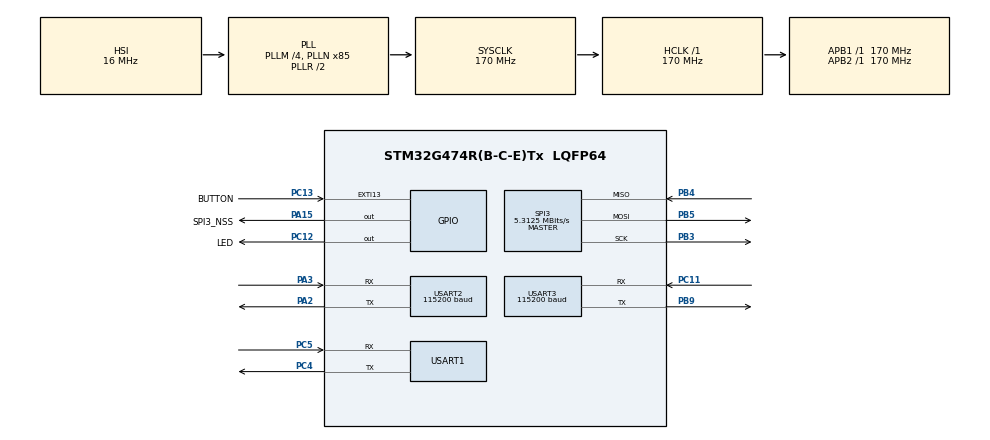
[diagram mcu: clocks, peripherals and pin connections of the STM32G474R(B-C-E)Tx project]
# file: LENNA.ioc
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FATFS._MAX_SS=4096
FATFS._USE_LFN=1
Mcu.Family=STM32G4
Mcu.Name=STM32G474R(B-C-E)Tx
Mcu.Package=LQFP64
NVIC.PriorityGroup=NVIC_PRIORITYGROUP_4
NVIC.USART1_IRQn=true\:0\:0\:false\:false\:true\:true\:true\:true
NVIC.USART2_IRQn=true\:0\:0\:false\:false\:true\:true\:true\:true
NVIC.USART3_IRQn=true\:0\:0\:false\:false\:true\:true\:true\:true
PA13.Mode=Serial_Wire
PA13.Signal=SYS_JTMS-SWDIO
PA14.Mode=Serial_Wire
PA14.Signal=SYS_JTCK-SWCLK
PA15.GPIO_Label=SPI3_NSS
PA15.Signal=GPIO_Output
PA2.Mode=Asynchronous
PA2.Signal=USART2_TX
PA3.Mode=Asynchronous
PA3.Signal=USART2_RX
PB3.Mode=Full_Duplex_Master
PB3.Signal=SPI3_SCK
PB4.Mode=Full_Duplex_Master
PB4.Signal=SPI3_MISO
PB5.Mode=Full_Duplex_Master
PB5.Signal=SPI3_MOSI
PB9.Mode=Asynchronous
PB9.Signal=USART3_TX
PC11.Mode=Asynchronous
PC11.Signal=USART3_RX
PC12.GPIO_Label=LED
PC12.Signal=GPIO_Output
PC13.GPIO_Label=BUTTON
PC13.Signal=GPXTI13
PC4.Mode=Asynchronous
PC4.Signal=USART1_TX
PC5.Mode=Asynchronous
PC5.Signal=USART1_RX
PF0-OSC_IN.Mode=HSE-External-Oscillator
PF0-OSC_IN.Signal=RCC_OSC_IN
PF1-OSC_OUT.Mode=HSE-External-Oscillator
PF1-OSC_OUT.Signal=RCC_OSC_OUT
ProjectManager.HeapSize=0x200
ProjectManager.StackSize=0x400
ProjectManager.TargetToolchain=STM32CubeIDE
RCC.ADC12Freq_Value=170000000
RCC.ADC345Freq_Value=170000000
RCC.AHBFreq_Value=170000000
RCC.APB1Freq_Value=170000000
RCC.APB1TimFreq_Value=170000000
RCC.APB2Freq_Value=170000000
RCC.APB2TimFreq_Value=170000000
RCC.CortexFreq_Value=170000000
RCC.EXTERNAL_CLOCK_VALUE=12288000
RCC.HCLKFreq_Value=170000000
RCC.HSE_VALUE=8000000
RCC.HSI48_VALUE=48000000
RCC.HSI_VALUE=16000000
RCC.LSE_VALUE=32768
RCC.PLLM=RCC_PLLM_DIV4
RCC.PLLN=85
RCC.SYSCLKFreq_VALUE=170000000
RCC.SYSCLKSource=RCC_SYSCLKSOURCE_PLLCLK
RCC.USBFreq_Value=170000000
RCC.VCOOutputFreq_Value=340000000
SPI3.BaudRatePrescaler=SPI_BAUDRATEPRESCALER_32
SPI3.CalculateBaudRate=5.3125 MBits/s
SPI3.DataSize=SPI_DATASIZE_8BIT
SPI3.Direction=SPI_DIRECTION_2LINES
SPI3.Mode=SPI_MODE_MASTER
SPI3.VirtualType=VM_MASTER
USART1.VirtualMode-Asynchronous=VM_ASYNC
USART2.BaudRate=115200
USART2.VirtualMode-Asynchronous=VM_ASYNC
USART3.BaudRate=115200
USART3.VirtualMode-Asynchronous=VM_ASYNC
VP_FATFS_VS_Generic.Mode=User_defined
VP_SYS_VS_DBSignals.Mode=DisableDeadBatterySignals
board=custom

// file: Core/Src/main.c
/* USER CODE BEGIN Header */

/*
	YILDIZ ROCKET TEAM
  LENNA FILE TRANSFER COMPUTER

	Dogukan Yalcin
*/

/* USER CODE END Header */
#include "main.h"
#include "app_fatfs.h"
#include "spi.h"
#include "usart.h"
#include "gpio.h"

/* USER CODE BEGIN Includes */

#include "def.h"
#include "file_transmit.h"
#include "file_receive.h"
/* USER CODE END Includes */

/* USER CODE BEGIN PD */

uint8_t transmissionState = RECEIVING_FROM_GROUND;
uint8_t *chunk_to_send;
uint8_t receivedChar;

/* USER CODE END PD */

/* USER CODE BEGIN PM */

void led(uint8_t state){
  if (state == 1){
    HAL_GPIO_WritePin(LED_GPIO_Port, LED_Pin, GPIO_PIN_SET);
  }
  else{
    HAL_GPIO_WritePin(LED_GPIO_Port, LED_Pin, GPIO_PIN_RESET);
  }
}
void led_notify(uint8_t count){
  for(uint8_t i = 0; i < count; i++){
    led(1);
    HAL_Delay(69);
    led(0);
    HAL_Delay(69);
  }
}

int timeout = 0;

uint32_t index = 0;

int debug_tick;

unsigned int debug_file_size;

uint8_t flag = 0;

// --------------------------------------------------

uint8_t was_the_transmission_successful = 0;
uint8_t re_v;
uint8_t re;

void HAL_UART_RxCpltCallback(UART_HandleTypeDef *huart) {

    if (huart->Instance == huart2.Instance) {
      HAL_UART_Receive_IT(&huart2, &receivedChar, 1);
    }

    else if (huart->Instance == huart1.Instance && transmissionState == SENDING_TO_GROUND){ // Gonderici UART

      if ((uint8_t)receivedChar == (uint8_t)RECEIVE_SUCCESSFUL){
        am_i_ready_to_send_chunk = 1;
        was_the_transmission_successful = 1;
      }
      else if ((uint8_t)receivedChar == (uint8_t)RECEIVE_FAILED){
        am_i_ready_to_send_chunk = 1;
        was_the_transmission_successful = 0;
      }
      else {
        am_i_ready_to_send_chunk = 1;
        was_the_transmission_successful = 0;
      }

      HAL_UART_Receive_IT(&huart1, &receivedChar, 1);
    }

    else if (huart->Instance == huart3.Instance && transmissionState == RECEIVING_FROM_GROUND) { // Alicinin UART'i
      re_v = gimme_THE_BYTE(receivedChar);
      timeout = HAL_GetTick();
      HAL_UART_Receive_IT(&huart3, &receivedChar, 1);
    }
}

void HAL_GPIO_EXTI_Callback(uint16_t GPIO_Pin)
{

  if (GPIO_Pin == BUTTON_Pin){

  }

}

void sendTranmissionProcessMessage(){

}

/* USER CODE END PM */

void SystemClock_Config(void);

int main(void)
{

  /* MCU Configuration--------------------------------------------------------*/

  /* Reset of all peripherals, Initializes the Flash interface and the Systick. */
  HAL_Init();

  /* Configure the system clock */
  SystemClock_Config();

  /* Initialize all configured peripherals */
  MX_GPIO_Init();
  if (MX_FATFS_Init() != APP_OK) {
    Error_Handler();
  }
  MX_SPI3_Init();
  MX_USART3_UART_Init();
  MX_USART2_UART_Init();
  MX_USART1_UART_Init();
  /* USER CODE BEGIN 2 */

  led_notify(5);
  mount_sd();
  writeSD("Round and Round We Go\n\n");
  if(fr != FR_OK){
    Error_Handler();
  }

  led(1);

  HAL_UART_Receive_IT(&huart3, &receivedChar, 1);

  re = init_file_receive();
  if (re != FR_OK) {
      Error_Handler();
  }

  uint8_t info_message[6];

  /* USER CODE END 2 */

  /* Infinite loop */
  /* USER CODE BEGIN WHILE */
  while (1)
  {
    switch(transmissionState){

      case RECEIVING_FROM_GROUND:
        led(1);
        uint8_t char_to_send;
        re_v = receive_chunk();
        if (re_v == 1) {
            char_to_send = RECEIVE_SUCCESSFUL;
            sendTranmissionProcessMessage();
            HAL_UART_Transmit(&huart3, &char_to_send, 1, 100);
        } else if (re_v == 2) {
            char_to_send = RECEIVE_FAILED;
            led(0);
            while (HAL_GetTick() - timeout < 100) {
                // wait
            }
            loop_count_reset();
            HAL_UART_Transmit(&huart3, &char_to_send, 1, 100);

        }else if(re_v == 5){
          HAL_UART_Receive_IT(&huart3, &receivedChar, 1);
        }
         else if (re_v == 3){
          char_to_send = RECEIVE_SUCCESSFUL;
          sendTranmissionProcessMessage();
          HAL_UART_Transmit(&huart3, &char_to_send, 1, 100);
          transmissionState = SENDING_TO_GROUND;
          void free_received_chunk();
          led_notify(25);

          // --------------------------------------------------
          // start sending

          HAL_UART_Receive_IT(&huart1, &receivedChar, 1);
          chunk_to_send = (uint8_t *) calloc(CHUNK_SIZE, sizeof(uint8_t));
          re_v = init_file_transmit(info_message);
          if (re_v != FR_OK) {
            //
          }
          while(am_i_ready_to_send_chunk == 0) {
            led(1);
            HAL_Delay(50);
            HAL_UART_Transmit(&huart1, (uint8_t *) info_message, 6, 1000);
            led(0);
            HAL_Delay(50);
           }

        }
        if (HAL_GetTick() - timeout > 1000 && receiving_status == 1) {
          char_to_send = RECEIVE_FAILED;
          led(0);
          loop_count_reset();
          HAL_UART_Receive_IT(&huart3, &receivedChar, 1);
          HAL_UART_Transmit(&huart3, &char_to_send, 1, 100);
        }
        break;

      case SENDING_TO_GROUND:
        led(0);
        re_v = create_chunk(chunk_to_send, was_the_transmission_successful);
        if (re_v == 1) {
            led(1);
            sendTranmissionProcessMessage();
            HAL_UART_Transmit(&huart1, (uint8_t *) chunk_to_send, CHUNK_SIZE, 3000);
        } else if(re_v == 2){
            sendTranmissionProcessMessage();
            led_notify(10);
            transmissionState = TRANSMISSION_COMPLETED;
        }
        break;

      case TRANSMISSION_COMPLETED:
        led(0);
        HAL_Delay(1000);
        led(1);
        HAL_Delay(1000);
        break;

      default:
        break;
    }

    /* USER CODE END WHILE */

  }
}

void SystemClock_Config(void)
{
  RCC_OscInitTypeDef RCC_OscInitStruct = {0};
  RCC_ClkInitTypeDef RCC_ClkInitStruct = {0};

  /** Configure the main internal regulator output voltage
  */
  HAL_PWREx_ControlVoltageScaling(PWR_REGULATOR_VOLTAGE_SCALE1_BOOST);

  /** Initializes the RCC Oscillators according to the specified parameters
  * in the RCC_OscInitTypeDef structure.
  */
  RCC_OscInitStruct.OscillatorType = RCC_OSCILLATORTYPE_HSI;
  RCC_OscInitStruct.HSIState = RCC_HSI_ON;
  RCC_OscInitStruct.HSICalibrationValue = RCC_HSICALIBRATION_DEFAULT;
  RCC_OscInitStruct.PLL.PLLState = RCC_PLL_ON;
  RCC_OscInitStruct.PLL.PLLSource = RCC_PLLSOURCE_HSI;
  RCC_OscInitStruct.PLL.PLLM = RCC_PLLM_DIV4;
  RCC_OscInitStruct.PLL.PLLN = 85;
  RCC_OscInitStruct.PLL.PLLP = RCC_PLLP_DIV2;
  RCC_OscInitStruct.PLL.PLLQ = RCC_PLLQ_DIV2;
  RCC_OscInitStruct.PLL.PLLR = RCC_PLLR_DIV2;
  if (HAL_RCC_OscConfig(&RCC_OscInitStruct) != HAL_OK)
  {
    Error_Handler();
  }

  /** Initializes the CPU, AHB and APB buses clocks
  */
  RCC_ClkInitStruct.ClockType = RCC_CLOCKTYPE_HCLK|RCC_CLOCKTYPE_SYSCLK
                              |RCC_CLOCKTYPE_PCLK1|RCC_CLOCKTYPE_PCLK2;
  RCC_ClkInitStruct.SYSCLKSource = RCC_SYSCLKSOURCE_PLLCLK;
  RCC_ClkInitStruct.AHBCLKDivider = RCC_SYSCLK_DIV1;
  RCC_ClkInitStruct.APB1CLKDivider = RCC_HCLK_DIV1;
  RCC_ClkInitStruct.APB2CLKDivider = RCC_HCLK_DIV1;

  if (HAL_RCC_ClockConfig(&RCC_ClkInitStruct, FLASH_LATENCY_4) != HAL_OK)
  {
    Error_Handler();
  }
}

void Error_Handler(void)
{
  /* USER CODE BEGIN Error_Handler_Debug */
  /* User can add his own implementation to report the HAL error return state */
  __disable_irq();
  while (1)
  {
    led(0);
  }
  /* USER CODE END Error_Handler_Debug */
}
